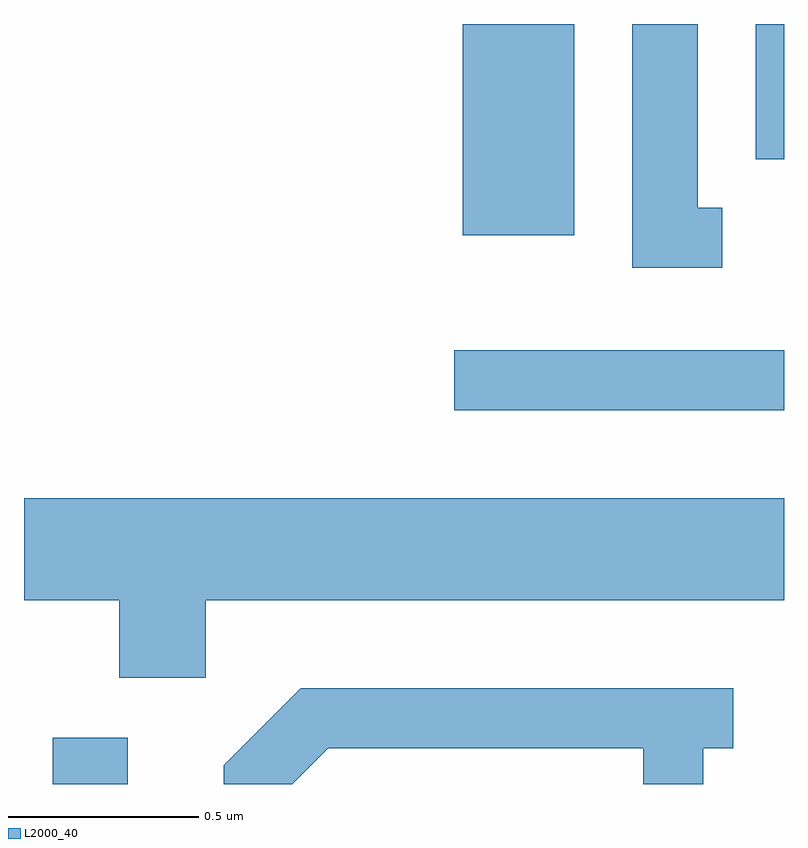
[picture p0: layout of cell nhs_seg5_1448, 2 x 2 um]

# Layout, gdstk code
import gdstk
lib = gdstk.Library(unit=1e-6, precision=1e-09)
def R(c, l, rs):  # rectangles x0, y0, x1, y1
    for r in rs: c.add(gdstk.rectangle(r[:2], r[2:], *l))
def P(c, l, *ps):  # polygons
    for p in ps: c.add(gdstk.Polygon(p, *l))
L2000_40 = (2000, 40)

nhs_seg5_1448 = lib.new_cell('nhs_seg5_1448')
R(nhs_seg5_1448, L2000_40, [(195.686,1474.072,195.884,1474.194), (196.743,1475.056,197.611,1475.214), (196.766,1475.516,197.059,1476.072), (197.536,1475.716,197.611,1476.072)])
P(nhs_seg5_1448, L2000_40, [(197.448,1475.589),(197.384,1475.589),(197.384,1476.072),(197.211,1476.072),(197.211,1475.431),(197.448,1475.431)],
  [(196.089,1474.556),(197.611,1474.556),(197.611,1474.824),(195.611,1474.824),(195.611,1474.556),(195.861,1474.556),(195.861,1474.351),(196.089,1474.351)],
  [(196.412,1474.166),(197.241,1474.166),(197.241,1474.072),(197.399,1474.072),(197.399,1474.166),(197.478,1474.166),(197.478,1474.324),(196.339,1474.324),(196.136,1474.122),(196.136,1474.072),(196.317,1474.072)])

lib.write_gds('nhs_seg5_1448.gds')
